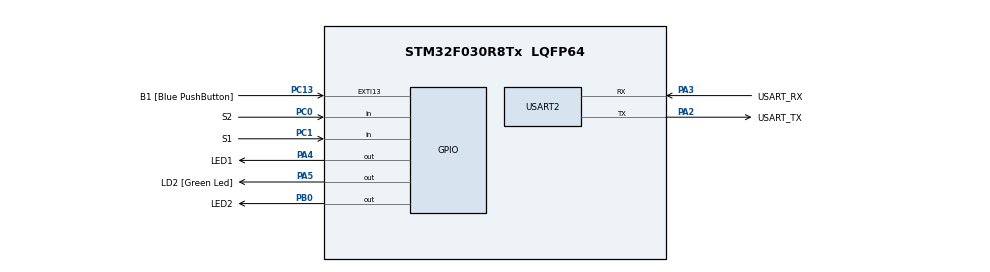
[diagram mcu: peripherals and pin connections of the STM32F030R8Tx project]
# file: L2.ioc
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Mcu.Family=STM32F0
Mcu.Name=STM32F030R8Tx
Mcu.Package=LQFP64
PA13.GPIO_Label=TMS
PA13.Mode=Serial_Wire
PA13.Signal=SYS_SWDIO
PA14.GPIO_Label=TCK
PA14.Mode=Serial_Wire
PA14.Signal=SYS_SWCLK
PA2.GPIO_Label=USART_TX
PA2.GPIO_Mode=GPIO_MODE_AF_PP
PA2.GPIO_PuPd=GPIO_NOPULL
PA2.GPIO_Speed=GPIO_SPEED_FREQ_LOW
PA2.Mode=Asynchronous
PA2.Signal=USART2_TX
PA3.GPIO_Label=USART_RX
PA3.GPIO_Mode=GPIO_MODE_AF_PP
PA3.GPIO_PuPd=GPIO_NOPULL
PA3.GPIO_Speed=GPIO_SPEED_FREQ_LOW
PA3.Mode=Asynchronous
PA3.Signal=USART2_RX
PA4.GPIO_Label=LED1
PA4.Signal=GPIO_Output
PA5.GPIO_Label=LD2 [Green Led]
PA5.GPIO_Mode=GPIO_MODE_OUTPUT_PP
PA5.GPIO_PuPd=GPIO_NOPULL
PA5.GPIO_Speed=GPIO_SPEED_FREQ_LOW
PA5.Signal=GPIO_Output
PB0.GPIO_Label=LED2
PB0.Signal=GPIO_Output
PC0.GPIO_Label=S2
PC0.GPIO_PuPd=GPIO_PULLUP
PC0.Signal=GPIO_Input
PC1.GPIO_Label=S1
PC1.GPIO_PuPd=GPIO_PULLUP
PC1.Signal=GPIO_Input
PC13.GPIO_Label=B1 [Blue PushButton]
PC13.GPIO_ModeDefaultEXTI=GPIO_MODE_IT_FALLING
PC13.Signal=GPXTI13
PC14-OSC32_IN.Mode=LSE-External-Oscillator
PC14-OSC32_IN.Signal=RCC_OSC32_IN
PC15-OSC32_OUT.Mode=LSE-External-Oscillator
PC15-OSC32_OUT.Signal=RCC_OSC32_OUT
PF0-OSC_IN.Mode=HSE-External-Clock-Source
PF0-OSC_IN.Signal=RCC_OSC_IN
PF1-OSC_OUT.Signal=RCC_OSC_OUT
ProjectManager.HeapSize=0x200
ProjectManager.StackSize=0x400
ProjectManager.TargetToolchain=STM32CubeIDE
RCC.AHBFreq_Value=48000000
RCC.APB1Freq_Value=48000000
RCC.APB1TimFreq_Value=48000000
RCC.HCLKFreq_Value=48000000
RCC.PLLMUL=RCC_PLL_MUL12
RCC.SYSCLKFreq_VALUE=48000000
RCC.SYSCLKSource=RCC_SYSCLKSOURCE_PLLCLK
USART2.VirtualMode-Asynchronous=VM_ASYNC
board=NUCLEO-F030R8

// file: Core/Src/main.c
/* USER CODE BEGIN Header */
/**
 ******************************************************************************
 * @file           : main.c
 * @brief          : Main program body
 ******************************************************************************
 * @attention
 *
 * Copyright (c) 2023 STMicroelectronics.
 * All rights reserved.
 *
 * This software is licensed under terms that can be found in the LICENSE file
 * in the root directory of this software component.
 * If no LICENSE file comes with this software, it is provided AS-IS.
 *
 ******************************************************************************
 */
/* USER CODE END Header */
#include "main.h"

/* USER CODE BEGIN PD */
#define LED_TIME_BLINK	300
#define LED_TIME_SHORT  100
#define	LED_TIME_LONG   1000
#define DEBOUNCE_MS		5
#define DEBOUNCE_MS2    40
/* USER CODE END PD */

void SystemClock_Config(void);
static void MX_GPIO_Init(void);
static void MX_USART2_UART_Init(void);

/* USER CODE BEGIN 0 */
void blikac(void)
{
	static uint32_t delay;

	if (Tick > delay + LED_TIME_BLINK) {
		LL_GPIO_TogglePin(LED1_GPIO_Port, LED1_Pin);
		delay = Tick;

	}
}

void tlacitka(void){
	static uint32_t old_s2;
	uint32_t new_s2 = LL_GPIO_IsInputPinSet(S2_GPIO_Port, S2_Pin);
	static uint32_t  debounce_time;
	static uint32_t  debounce_time2;
	static uint16_t debounce = 0xFFFF;
	static uint32_t off_time;
	if (Tick > off_time) {
		LL_GPIO_ResetOutputPin(LED2_GPIO_Port, LED2_Pin);
	}
	if (Tick > debounce_time2+ DEBOUNCE_MS2){
		debounce_time = Tick;
		if (old_s2 && !new_s2) { // falling edge
			off_time = Tick + LED_TIME_SHORT;
			LL_GPIO_SetOutputPin(LED2_GPIO_Port, LED2_Pin);
		}
	}
	old_s2 = new_s2;

	uint32_t new_s1 = LL_GPIO_IsInputPinSet(S1_GPIO_Port, S1_Pin);

	if (Tick > debounce_time+ DEBOUNCE_MS){
		debounce_time = Tick;

		debounce <<=1;
		if (new_s1) debounce |= 0x0001;

		if (debounce == 0x7FFF) {
			off_time = Tick + LED_TIME_LONG;
			LL_GPIO_SetOutputPin(LED2_GPIO_Port, LED2_Pin);
		}
	}
}
/* USER CODE END 0 */

int main(void)
{

	/* MCU Configuration--------------------------------------------------------*/

	/* Reset of all peripherals, Initializes the Flash interface and the Systick. */
	LL_APB1_GRP2_EnableClock(LL_APB1_GRP2_PERIPH_SYSCFG);
	LL_APB1_GRP1_EnableClock(LL_APB1_GRP1_PERIPH_PWR);

	/* Configure the system clock */
	SystemClock_Config();

	/* USER CODE BEGIN SysInit */
	LL_SYSTICK_EnableIT();
	/* USER CODE END SysInit */

	/* Initialize all configured peripherals */
	MX_GPIO_Init();
	MX_USART2_UART_Init();

	/* Infinite loop */
	while (1)
	{

		/* USER CODE BEGIN 3 */
		blikac();
		tlacitka();
	}
	/* USER CODE END 3 */
}

void SystemClock_Config(void)
{
	LL_FLASH_SetLatency(LL_FLASH_LATENCY_1);
	while(LL_FLASH_GetLatency() != LL_FLASH_LATENCY_1)
	{
	}
	LL_RCC_HSI_Enable();

	/* Wait till HSI is ready */
	while(LL_RCC_HSI_IsReady() != 1)
	{

	}
	LL_RCC_HSI_SetCalibTrimming(16);
	LL_RCC_PLL_ConfigDomain_SYS(LL_RCC_PLLSOURCE_HSI_DIV_2, LL_RCC_PLL_MUL_12);
	LL_RCC_PLL_Enable();

	/* Wait till PLL is ready */
	while(LL_RCC_PLL_IsReady() != 1)
	{

	}
	LL_RCC_SetAHBPrescaler(LL_RCC_SYSCLK_DIV_1);
	LL_RCC_SetAPB1Prescaler(LL_RCC_APB1_DIV_1);
	LL_RCC_SetSysClkSource(LL_RCC_SYS_CLKSOURCE_PLL);

	/* Wait till System clock is ready */
	while(LL_RCC_GetSysClkSource() != LL_RCC_SYS_CLKSOURCE_STATUS_PLL)
	{

	}
	LL_Init1msTick(48000000);
	LL_SetSystemCoreClock(48000000);
}

static void MX_USART2_UART_Init(void)
{

	LL_USART_InitTypeDef USART_InitStruct = {0};

	LL_GPIO_InitTypeDef GPIO_InitStruct = {0};

	/* Peripheral clock enable */
	LL_APB1_GRP1_EnableClock(LL_APB1_GRP1_PERIPH_USART2);

	LL_AHB1_GRP1_EnableClock(LL_AHB1_GRP1_PERIPH_GPIOA);
	/**USART2 GPIO Configuration
  PA2   ------> USART2_TX
  PA3   ------> USART2_RX
	 */
	GPIO_InitStruct.Pin = USART_TX_Pin;
	GPIO_InitStruct.Mode = LL_GPIO_MODE_ALTERNATE;
	GPIO_InitStruct.Speed = LL_GPIO_SPEED_FREQ_LOW;
	GPIO_InitStruct.OutputType = LL_GPIO_OUTPUT_PUSHPULL;
	GPIO_InitStruct.Pull = LL_GPIO_PULL_NO;
	GPIO_InitStruct.Alternate = LL_GPIO_AF_1;
	LL_GPIO_Init(USART_TX_GPIO_Port, &GPIO_InitStruct);

	GPIO_InitStruct.Pin = USART_RX_Pin;
	GPIO_InitStruct.Mode = LL_GPIO_MODE_ALTERNATE;
	GPIO_InitStruct.Speed = LL_GPIO_SPEED_FREQ_LOW;
	GPIO_InitStruct.OutputType = LL_GPIO_OUTPUT_PUSHPULL;
	GPIO_InitStruct.Pull = LL_GPIO_PULL_NO;
	GPIO_InitStruct.Alternate = LL_GPIO_AF_1;
	LL_GPIO_Init(USART_RX_GPIO_Port, &GPIO_InitStruct);

	USART_InitStruct.BaudRate = 38400;
	USART_InitStruct.DataWidth = LL_USART_DATAWIDTH_8B;
	USART_InitStruct.StopBits = LL_USART_STOPBITS_1;
	USART_InitStruct.Parity = LL_USART_PARITY_NONE;
	USART_InitStruct.TransferDirection = LL_USART_DIRECTION_TX_RX;
	USART_InitStruct.HardwareFlowControl = LL_USART_HWCONTROL_NONE;
	USART_InitStruct.OverSampling = LL_USART_OVERSAMPLING_16;
	LL_USART_Init(USART2, &USART_InitStruct);
	LL_USART_DisableIT_CTS(USART2);
	LL_USART_ConfigAsyncMode(USART2);
	LL_USART_Enable(USART2);

}

static void MX_GPIO_Init(void)
{
	LL_EXTI_InitTypeDef EXTI_InitStruct = {0};
	LL_GPIO_InitTypeDef GPIO_InitStruct = {0};

	/* GPIO Ports Clock Enable */
	LL_AHB1_GRP1_EnableClock(LL_AHB1_GRP1_PERIPH_GPIOC);
	LL_AHB1_GRP1_EnableClock(LL_AHB1_GRP1_PERIPH_GPIOF);
	LL_AHB1_GRP1_EnableClock(LL_AHB1_GRP1_PERIPH_GPIOA);
	LL_AHB1_GRP1_EnableClock(LL_AHB1_GRP1_PERIPH_GPIOB);

	/**/
	LL_GPIO_ResetOutputPin(LED1_GPIO_Port, LED1_Pin);

	/**/
	LL_GPIO_ResetOutputPin(LD2_GPIO_Port, LD2_Pin);

	/**/
	LL_GPIO_ResetOutputPin(LED2_GPIO_Port, LED2_Pin);

	/**/
	LL_SYSCFG_SetEXTISource(LL_SYSCFG_EXTI_PORTC, LL_SYSCFG_EXTI_LINE13);

	/**/
	LL_GPIO_SetPinPull(B1_GPIO_Port, B1_Pin, LL_GPIO_PULL_NO);

	/**/
	LL_GPIO_SetPinMode(B1_GPIO_Port, B1_Pin, LL_GPIO_MODE_INPUT);

	/**/
	EXTI_InitStruct.Line_0_31 = LL_EXTI_LINE_13;
	EXTI_InitStruct.LineCommand = ENABLE;
	EXTI_InitStruct.Mode = LL_EXTI_MODE_IT;
	EXTI_InitStruct.Trigger = LL_EXTI_TRIGGER_FALLING;
	LL_EXTI_Init(&EXTI_InitStruct);

	/**/
	GPIO_InitStruct.Pin = S2_Pin;
	GPIO_InitStruct.Mode = LL_GPIO_MODE_INPUT;
	GPIO_InitStruct.Pull = LL_GPIO_PULL_UP;
	LL_GPIO_Init(S2_GPIO_Port, &GPIO_InitStruct);

	/**/
	GPIO_InitStruct.Pin = S1_Pin;
	GPIO_InitStruct.Mode = LL_GPIO_MODE_INPUT;
	GPIO_InitStruct.Pull = LL_GPIO_PULL_UP;
	LL_GPIO_Init(S1_GPIO_Port, &GPIO_InitStruct);

	/**/
	GPIO_InitStruct.Pin = LED1_Pin;
	GPIO_InitStruct.Mode = LL_GPIO_MODE_OUTPUT;
	GPIO_InitStruct.Speed = LL_GPIO_SPEED_FREQ_LOW;
	GPIO_InitStruct.OutputType = LL_GPIO_OUTPUT_PUSHPULL;
	GPIO_InitStruct.Pull = LL_GPIO_PULL_NO;
	LL_GPIO_Init(LED1_GPIO_Port, &GPIO_InitStruct);

	/**/
	GPIO_InitStruct.Pin = LD2_Pin;
	GPIO_InitStruct.Mode = LL_GPIO_MODE_OUTPUT;
	GPIO_InitStruct.Speed = LL_GPIO_SPEED_FREQ_LOW;
	GPIO_InitStruct.OutputType = LL_GPIO_OUTPUT_PUSHPULL;
	GPIO_InitStruct.Pull = LL_GPIO_PULL_NO;
	LL_GPIO_Init(LD2_GPIO_Port, &GPIO_InitStruct);

	/**/
	GPIO_InitStruct.Pin = LED2_Pin;
	GPIO_InitStruct.Mode = LL_GPIO_MODE_OUTPUT;
	GPIO_InitStruct.Speed = LL_GPIO_SPEED_FREQ_LOW;
	GPIO_InitStruct.OutputType = LL_GPIO_OUTPUT_PUSHPULL;
	GPIO_InitStruct.Pull = LL_GPIO_PULL_NO;
	LL_GPIO_Init(LED2_GPIO_Port, &GPIO_InitStruct);

}

void Error_Handler(void)
{
	__disable_irq();
	while (1)
	{
	}
}
